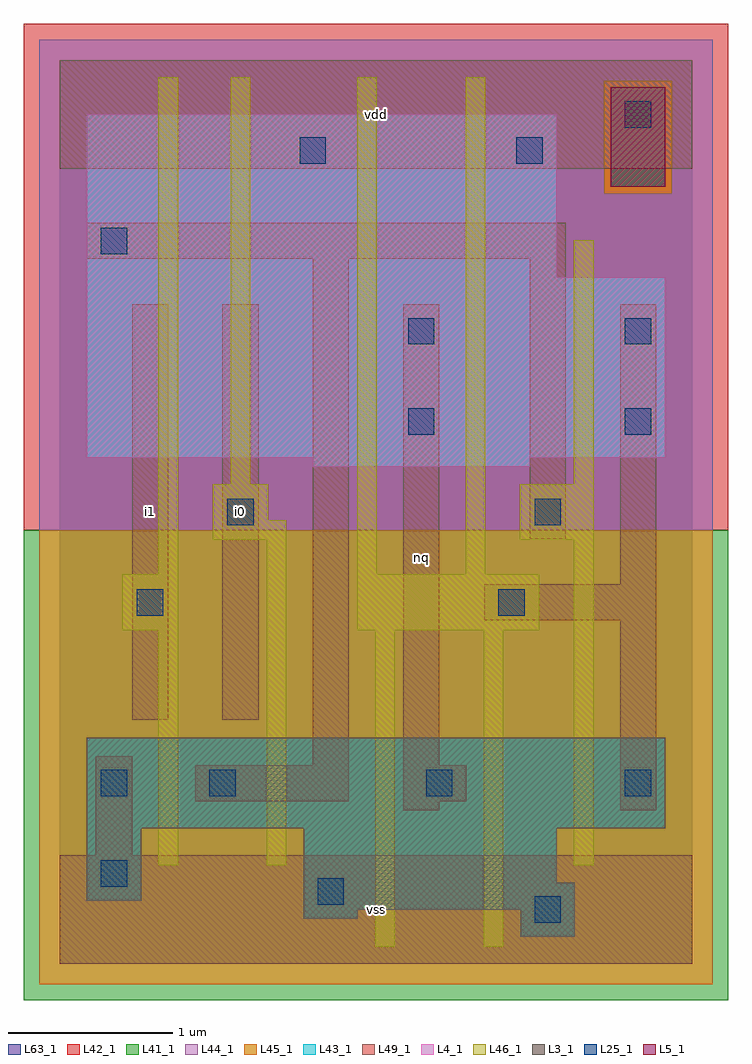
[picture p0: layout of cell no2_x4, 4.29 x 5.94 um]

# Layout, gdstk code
import gdstk
lib = gdstk.Library(unit=1e-6, precision=1e-09)
def R(c, l, rs):  # rectangles x0, y0, x1, y1
    for r in rs: c.add(gdstk.rectangle(r[:2], r[2:], *l))
L3_1 = (3, 1)
L4_1 = (4, 1)
L5_1 = (5, 1)
L25_1 = (25, 1)
L41_1 = (41, 1)
L42_1 = (42, 1)
L43_1 = (43, 1)
L44_1 = (44, 1)
L45_1 = (45, 1)
L46_1 = (46, 1)
L49_1 = (49, 1)
L63_1 = (63, 1)

no2_x4 = lib.new_cell('no2_x4')
R(no2_x4, L3_1, [(2.805,0.165,3.135,0.33), (1.485,0.275,1.815,0.33), (1.485,0.33,3.135,0.495), (0.165,0.385,0.495,0.825), (1.485,0.495,3.025,0.825), (0.165,0.825,3.685,1.375)])
R(no2_x4, L4_1, [(1.54,3.025,2.86,3.08), (0.165,3.08,3.685,4.18), (0.165,4.18,3.025,5.17)])
R(no2_x4, L5_1, [(3.355,4.73,3.685,5.335)])
R(no2_x4, L25_1, [(2.89,0.25,3.05,0.41), (1.57,0.36,1.73,0.52), (0.25,0.47,0.41,0.63), (0.25,1.02,0.41,1.18), (0.91,1.02,1.07,1.18), (2.23,1.02,2.39,1.18), (3.44,1.02,3.6,1.18), (0.47,2.12,0.63,2.28), (2.67,2.12,2.83,2.28), (1.02,2.67,1.18,2.83), (2.89,2.67,3.05,2.83), (2.12,3.22,2.28,3.38), (3.44,3.22,3.6,3.38), (2.12,3.77,2.28,3.93), (3.44,3.77,3.6,3.93), (0.25,4.32,0.41,4.48), (1.46,4.87,1.62,5.03), (2.78,4.87,2.94,5.03), (3.44,5.09,3.6,5.25)])
R(no2_x4, L41_1, [(-0.22,-0.22,4.07,2.64)])
R(no2_x4, L42_1, [(-0.22,2.64,4.07,5.72)])
R(no2_x4, L43_1, [(2.805,0.165,3.135,0.33), (1.485,0.275,1.815,0.33), (1.485,0.33,3.135,0.495), (0.165,0.385,0.495,0.825), (1.485,0.495,3.025,0.825), (0.165,0.825,3.685,1.375), (1.54,3.025,2.86,3.08), (0.165,3.08,3.685,4.18), (0.165,4.18,3.025,5.17), (3.355,4.73,3.685,5.335)])
R(no2_x4, L44_1, [(-0.125,2.64,3.975,4.69), (-0.125,4.69,3.315,5.375), (3.725,4.69,3.975,5.375), (-0.125,5.375,3.975,5.625)])
R(no2_x4, L45_1, [(-0.125,-0.125,3.975,2.64), (3.315,4.69,3.725,5.375)])
R(no2_x4, L46_1, [(1.92,0.105,2.04,2.03), (2.58,0.105,2.7,2.03), (0.6,0.6,0.72,2.03), (1.26,0.6,1.38,2.58), (3.13,0.6,3.25,2.58), (0.38,2.03,0.72,2.37), (1.81,2.03,2.92,2.37), (0.6,2.37,0.72,5.395), (1.81,2.37,1.93,5.395), (2.47,2.37,2.59,5.395), (0.93,2.58,1.38,2.7), (2.8,2.58,3.25,2.92), (0.93,2.7,1.27,2.92), (1.04,2.92,1.16,5.395), (3.13,2.92,3.25,4.405)])
R(no2_x4, L49_1, [(0,0,3.85,0.66), (0.22,0.66,0.44,1.265), (2.09,0.935,2.31,0.99), (3.41,0.935,3.63,2.09), (0.825,0.99,1.76,1.21), (2.09,0.99,2.475,1.21), (1.54,1.21,1.76,4.29), (2.09,1.21,2.31,4.015), (0.44,1.485,0.66,4.015), (0.99,1.485,1.21,4.015), (2.585,2.09,3.63,2.31), (3.41,2.31,3.63,4.015), (2.86,2.585,3.08,4.29), (0.165,4.29,3.08,4.51), (0,4.84,3.85,5.5)])
R(no2_x4, L63_1, [(0,0,3.85,5.5)])
no2_x4.add(gdstk.Label('i1', (0.55,2.75), layer=49, texttype=1))
no2_x4.add(gdstk.Label('i0', (1.1,2.75), layer=49, texttype=1))
no2_x4.add(gdstk.Label('vss', (1.925,0.33), layer=49, texttype=1))
no2_x4.add(gdstk.Label('nq', (2.2,2.475), layer=49, texttype=1))
no2_x4.add(gdstk.Label('vdd', (1.925,5.17), layer=49, texttype=1))

lib.write_gds('no2_x4.gds')
